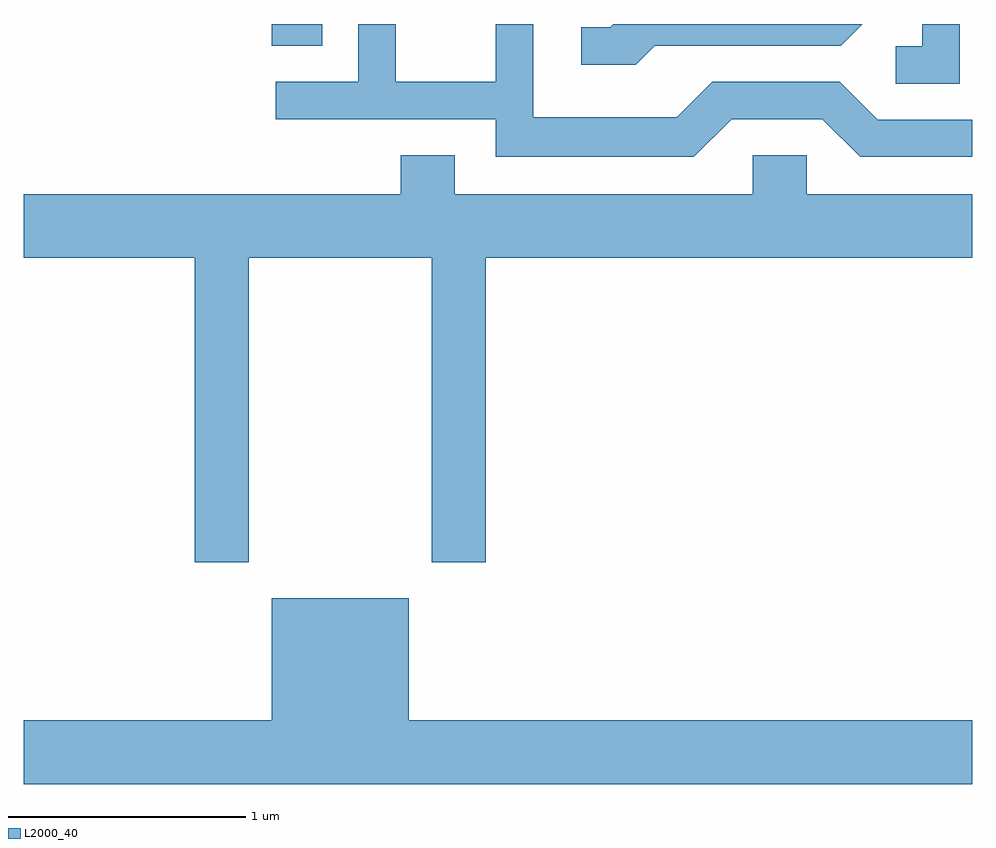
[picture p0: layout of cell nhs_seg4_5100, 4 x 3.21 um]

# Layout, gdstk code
import gdstk
lib = gdstk.Library(unit=1e-6, precision=1e-09)
def R(c, l, rs):  # rectangles x0, y0, x1, y1
    for r in rs: c.add(gdstk.rectangle(r[:2], r[2:], *l))
def P(c, l, *ps):  # polygons
    for p in ps: c.add(gdstk.Polygon(p, *l))
L2000_40 = (2000, 40)

nhs_seg4_5100 = lib.new_cell('nhs_seg4_5100')
R(nhs_seg4_5100, L2000_40, [(336.656,1257.891,336.869,1257.982)])
P(nhs_seg4_5100, L2000_40, [(338.272,1257.891),(339.057,1257.891),(339.147,1257.982),(338.097,1257.982),(338.084,1257.969),(337.963,1257.969),(337.963,1257.811),(338.192,1257.811)],
  [(338.597,1257.581),(338.979,1257.581),(339.139,1257.421),(339.611,1257.421),(339.611,1257.579),(339.212,1257.579),(339.052,1257.739),(338.514,1257.739),(338.364,1257.589),(337.759,1257.589),(337.759,1257.982),(337.601,1257.982),(337.601,1257.739),(337.179,1257.739),(337.179,1257.982),(337.021,1257.982),(337.021,1257.739),(336.673,1257.739),(336.673,1257.581),(337.601,1257.581),(337.601,1257.421),(338.437,1257.421)],
  [(339.559,1257.982),(339.401,1257.982),(339.401,1257.889),(339.288,1257.889),(339.288,1257.731),(339.559,1257.731)],
  [(336.559,1256.996),(337.331,1256.996),(337.331,1255.711),(337.559,1255.711),(337.559,1256.996),(339.611,1256.996),(339.611,1257.264),(338.914,1257.264),(338.914,1257.429),(338.686,1257.429),(338.686,1257.264),(337.429,1257.264),(337.429,1257.429),(337.201,1257.429),(337.201,1257.264),(335.611,1257.264),(335.611,1256.996),(336.331,1256.996),(336.331,1255.711),(336.559,1255.711)],
  [(339.611,1255.044),(337.234,1255.044),(337.234,1255.559),(336.656,1255.559),(336.656,1255.044),(335.611,1255.044),(335.611,1254.776),(339.611,1254.776)])

lib.write_gds('nhs_seg4_5100.gds')
